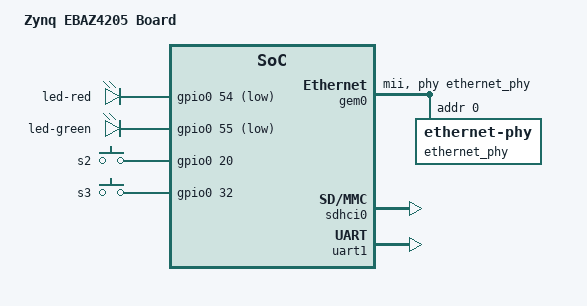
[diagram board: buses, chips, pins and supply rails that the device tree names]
/ {
    model = "Zynq EBAZ4205 Board";

    aliases {
        ethernet0 = &gem0;
        serial0 = &uart1;
        mmc0 = &sdhci0;
        nand0 = &nand0;
    };

    /* The LEDs are connected through the PL to the PS's EMIO GPIOs 0 and 1.
       They therefore appear as GPIOs 54 and 55 here. The FPGA ports drive
       the cathode of the LEDs (The anode is connected to VCC through a
       150 ohm resistor.) so the GPIOs must be configured as active-low.    */
    gpio-leds {
        compatible = "gpio-leds";

        led-red {
            label = "led-red";
            gpios = <&gpio0 54 1>;
            default-state = "on";
            linux,default-trigger = "heartbeat";
        };

        led-green {
            label = "led-green";
            gpios = <&gpio0 55 1>;
            default-state = "off";
        };
    };

    /* The switches are connected to MIO GPIOs 20 and 32.
       S2 generates keycode KEY_HOME (102).
       S3 generates keycode KEY_POWER (116).
       The switches send 3.3V to the GPIO when depressed
       so the GPIOs must be configured as active high.   */
    gpio-keys {
        compatible = "gpio-keys";
        autorepeat;

        s2 {
            label = "s2";
            gpios = <&gpio0 20 0>;
            linux,code = <102>;
            wakeup-source;
        };

        s3 {
            label = "s3";
            gpios = <&gpio0 32 0>;
            linux,code = <116>;
            wakeup-source;
        };
    };
};

&gem0 {
    status = "okay";
    phy-mode = "mii";
    phy-handle = <&ethernet_phy>;

    ethernet_phy: ethernet-phy@0 {
        reg = <0x0>;
        device_type = "ethernet-phy";
    };
};

&sdhci0 {
    status = "okay";
    xlnx,has-cd = <0x1>;
    xlnx,has-power = <0x0>;
    xlnx,has-wp = <0x0>;
};

&uart1 {
    status = "okay";
};

&nand0 {
    status = "disabled";
};

